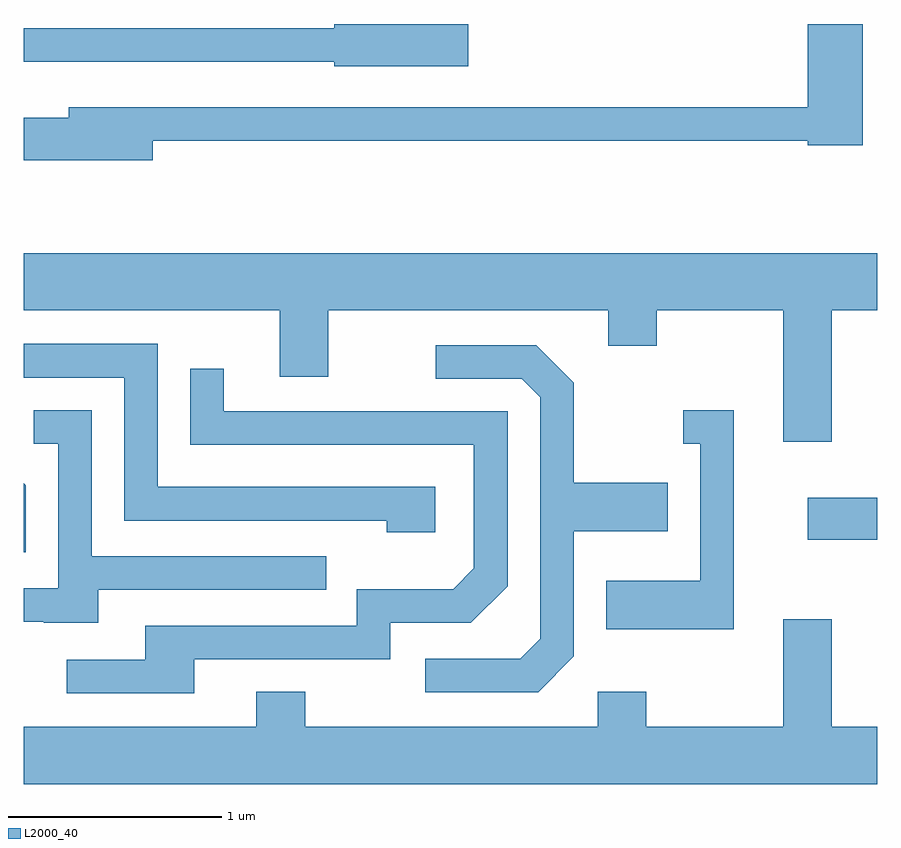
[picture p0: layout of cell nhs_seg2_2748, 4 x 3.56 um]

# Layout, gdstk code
import gdstk
lib = gdstk.Library(unit=1e-6, precision=1e-09)
def R(c, l, rs):  # rectangles x0, y0, x1, y1
    for r in rs: c.add(gdstk.rectangle(r[:2], r[2:], *l))
def P(c, l, *ps):  # polygons
    for p in ps: c.add(gdstk.Polygon(p, *l))
L2000_40 = (2000, 40)

nhs_seg2_2748 = lib.new_cell('nhs_seg2_2748')
R(nhs_seg2_2748, L2000_40, [(269.286,1047.241,269.611,1047.439)])
P(nhs_seg2_2748, L2000_40, [(266.214,1049.111),(269.286,1049.111),(269.286,1049.091),(269.544,1049.091),(269.544,1049.659),(269.286,1049.659),(269.286,1049.269),(265.821,1049.269),(265.821,1049.219),(265.611,1049.219),(265.611,1049.021),(266.214,1049.021)],
  [(267.694,1049.659),(267.066,1049.659),(267.066,1049.639),(265.611,1049.639),(265.611,1049.481),(267.066,1049.481),(267.066,1049.461),(267.694,1049.461)],
  [(269.399,1048.316),(269.611,1048.316),(269.611,1048.584),(265.611,1048.584),(265.611,1048.316),(266.811,1048.316),(266.811,1048.006),(267.039,1048.006),(267.039,1048.316),(268.351,1048.316),(268.351,1048.151),(268.579,1048.151),(268.579,1048.316),(269.171,1048.316),(269.171,1047.701),(269.399,1047.701)],
  [(267.539,1047.489),(266.239,1047.489),(266.239,1048.159),(265.611,1048.159),(265.611,1048.001),(266.081,1048.001),(266.081,1047.331),(267.311,1047.331),(267.311,1047.276),(267.539,1047.276)],
  [(268.189,1046.694),(268.189,1047.281),(268.629,1047.281),(268.629,1047.509),(268.189,1047.509),(268.189,1047.977),(268.012,1048.154),(267.543,1048.154),(267.543,1047.996),(267.944,1047.996),(268.031,1047.909),(268.031,1046.777),(267.939,1046.684),(267.493,1046.684),(267.493,1046.526),(268.022,1046.526)],
  [(266.409,1046.681),(267.329,1046.681),(267.329,1046.851),(267.707,1046.851),(267.879,1047.024),(267.879,1047.844),(266.549,1047.844),(266.549,1048.043),(266.391,1048.043),(266.391,1047.686),(267.721,1047.686),(267.721,1047.107),(267.624,1047.009),(267.171,1047.009),(267.171,1046.839),(266.181,1046.839),(266.181,1046.679),(265.813,1046.679),(265.813,1046.521),(266.409,1046.521)],
  [(268.939,1047.849),(268.703,1047.849),(268.703,1047.691),(268.781,1047.691),(268.781,1047.049),(268.341,1047.049),(268.341,1046.821),(268.939,1046.821)],
  [(265.959,1047.006),(267.028,1047.006),(267.028,1047.164),(265.929,1047.164),(265.929,1047.849),(265.658,1047.849),(265.658,1047.691),(265.771,1047.691),(265.771,1047.014),(265.611,1047.014),(265.611,1046.856),(265.705,1046.856),(265.705,1046.851),(265.959,1046.851)],
  [(265.619,1047.497),(265.611,1047.505),(265.611,1047.183),(265.619,1047.183)],
  [(269.611,1046.364),(269.399,1046.364),(269.399,1046.869),(269.171,1046.869),(269.171,1046.364),(268.529,1046.364),(268.529,1046.529),(268.301,1046.529),(268.301,1046.364),(266.929,1046.364),(266.929,1046.529),(266.701,1046.529),(266.701,1046.364),(265.611,1046.364),(265.611,1046.096),(269.611,1046.096)])

lib.write_gds('nhs_seg2_2748.gds')
